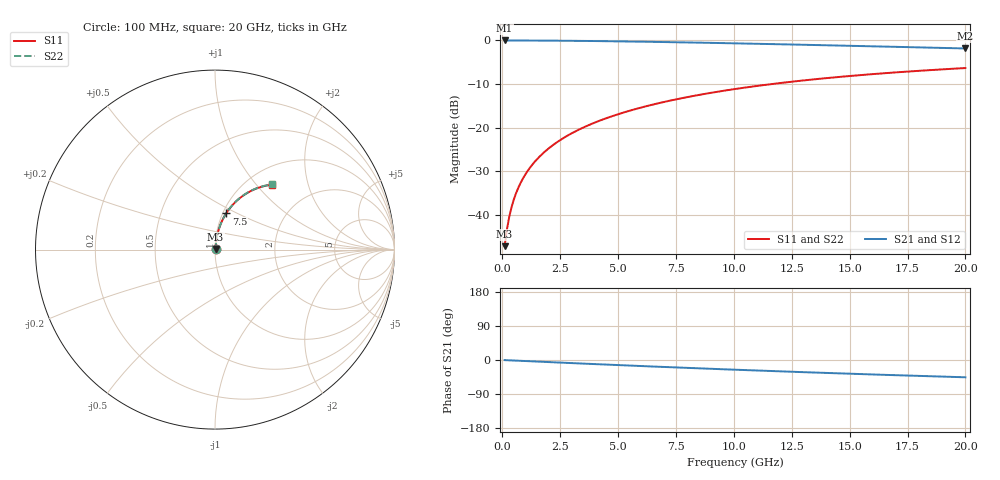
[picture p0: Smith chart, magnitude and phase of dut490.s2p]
! Touchstone file exported from HFSS 2024.1.0
!  File:  C:/UserFiles/LocalFiles/RDL_TSV_Batchsim/temp_RDL_bottom_490_1779686788.aedt
!  Generated:  01:29:07 PM May 25, 2026
!  Design:  RDL_bottom
!  Project:  temp_RDL_bottom_490_1779686788
!  Setup:  Setup1
!  Solution:  Sweep
! Variables:
!  dtsv = 10.80580581um
!  hbump = 3um
!  htsv = 97.76um
!  ldown = 594.33um
!  lrdl = 100um
!  p = 40
!  p1 = 56.81um
!  rhole = 1um
!  t = 450um
!  tdown = 4.58um
!  trdl = 3.915915916um
!  wdown = 14.77um
!  wrdl = 20um
# GHz S MA R 50.000000
! Terminal data exported
! Port[1] = RDL1_T1
! Port[2] = RDL1_T2
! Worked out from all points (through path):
!   200 points, 100 MHz to 20 GHz, reference 50 ohm
!   highest |S21| = -0.03 dB at 100 MHz (marker M1); lowest = -1.9 dB at 20 GHz (marker M2)
!   group delay of S21, straight-line fit = 6.33 ps
!   lowest |S11| = -47.2 dB at 100 MHz (marker M3), VSWR 1.01, Z = 50.3 + j0.301 ohm
!   |S11| at or under -10 dB: start of sweep to 11.67 GHz
!   |S22| runs from -47.2 to -6.3 dB; largest |S21 - S12| = 2e-15
!   S11 on the Smith chart (normalised r, x): 100 MHz: 1.01, +0.01; 7.5 GHz: 1.04, +0.44; 20 GHz: 1.29, +1.21
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0.1  0.00438 43.1  0.9968 -0.3  0.9968 -0.3  0.00438 43.1
! Gamma 0 0 0 0
! Port Impedance 50 0 50 0
0.2  0.006803 60.9  0.9967 -0.6  0.9967 -0.6  0.006803 60.9
0.3  0.009499 68.7  0.9966 -0.8  0.9966 -0.8  0.009499 68.7
0.4  0.01226 72.9  0.9964 -1.1  0.9964 -1.1  0.01226 72.9
0.5  0.01506 75.6  0.9963 -1.4  0.9963 -1.4  0.01506 75.6
0.6  0.01787 77.3  0.9961 -1.7  0.9961 -1.7  0.01786 77.3
0.8  0.02351 79.5  0.9958 -2.2  0.9958 -2.2  0.02351 79.5
1.1  0.03203 81.1  0.9952 -3.0  0.9952 -3.0  0.03203 81.1
1.5  0.04343 81.9  0.9941 -4.1  0.9941 -4.1  0.04343 81.9
1.8  0.05199 82.0  0.9931 -5.0  0.9931 -5.0  0.05199 82.1
2.1  0.06054 82.0  0.992 -5.8  0.992 -5.8  0.06054 82.0
2.7  0.07762 81.4  0.9892 -7.4  0.9892 -7.4  0.07762 81.4
3.5  0.1003 80.3  0.9847 -9.5  0.9847 -9.5  0.1003 80.3
4.2  0.12 79.2  0.98 -11.4  0.98 -11.4  0.12 79.2
5  0.1423 77.7  0.9739 -13.4  0.9739 -13.4  0.1424 77.8
5.9  0.1672 76.0  0.9663 -15.7  0.9663 -15.7  0.1673 76.1
6.8  0.1918 74.3  0.9581 -18.0  0.9581 -18.0  0.1919 74.4
7.5  0.2106 72.9  0.9512 -19.7  0.9512 -19.7  0.2107 73.0
10.1  0.2781 67.6  0.9236 -25.7  0.9236 -25.7  0.2782 67.7
13.4  0.356 61.0  0.8853 -32.9  0.8853 -32.9  0.3563 61.1
16.7  0.4238 54.6  0.8458 -39.5  0.8458 -39.5  0.4242 54.8
20  0.4812 48.7  0.807 -45.6  0.807 -45.6  0.4817 48.9
